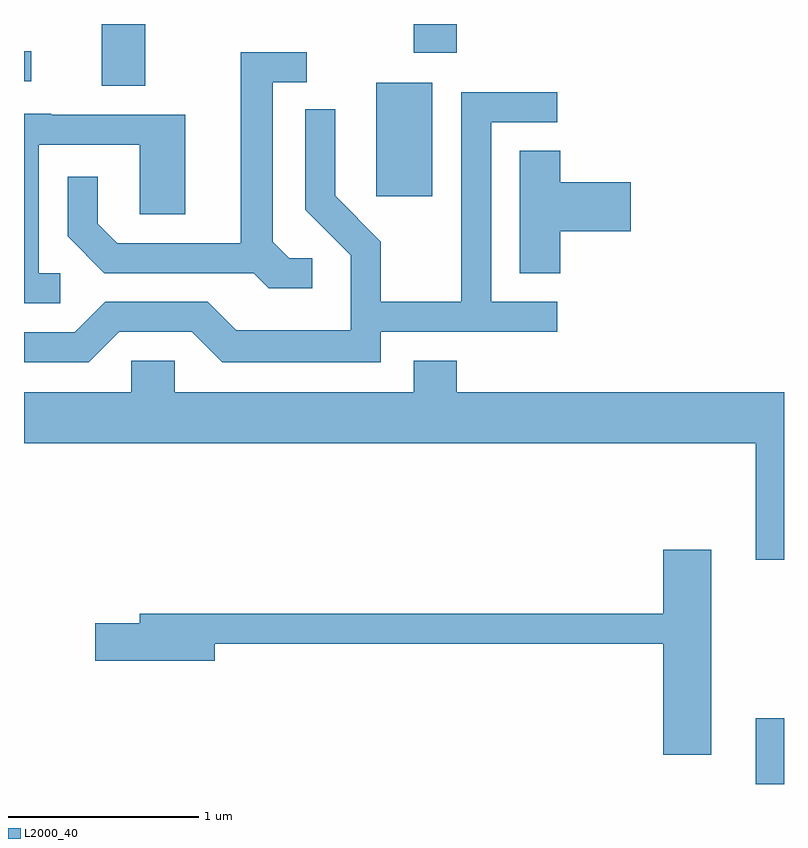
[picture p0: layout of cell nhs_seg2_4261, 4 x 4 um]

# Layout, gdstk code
import gdstk
lib = gdstk.Library(unit=1e-6, precision=1e-09)
def R(c, l, rs):  # rectangles x0, y0, x1, y1
    for r in rs: c.add(gdstk.rectangle(r[:2], r[2:], *l))
def P(c, l, *ps):  # polygons
    for p in ps: c.add(gdstk.Polygon(p, *l))
L2000_40 = (2000, 40)

nhs_seg2_4261 = lib.new_cell('nhs_seg2_4261')
R(nhs_seg2_4261, L2000_40, [(313.461,1099.802,313.611,1100.149), (311.466,1102.896,311.759,1103.494), (310.021,1103.476,310.249,1103.802), (309.611,1103.501,309.648,1103.659), (311.661,1103.651,311.889,1103.802)])
P(nhs_seg2_4261, L2000_40, [(311.128,1102.569),(311.007,1102.569),(310.919,1102.657),(310.919,1103.496),(311.098,1103.496),(311.098,1103.654),(310.751,1103.654),(310.751,1102.649),(310.102,1102.649),(309.999,1102.752),(309.999,1102.998),(309.841,1102.998),(309.841,1102.684),(310.034,1102.491),(310.819,1102.491),(310.899,1102.411),(311.128,1102.411)],
  [(310.112,1102.181),(310.494,1102.181),(310.654,1102.021),(311.489,1102.021),(311.489,1102.181),(312.418,1102.181),(312.418,1102.339),(312.069,1102.339),(312.069,1103.286),(312.418,1103.286),(312.418,1103.444),(311.911,1103.444),(311.911,1102.339),(311.489,1102.339),(311.489,1102.657),(311.249,1102.897),(311.249,1103.353),(311.091,1103.353),(311.091,1102.824),(311.331,1102.584),(311.331,1102.189),(310.727,1102.189),(310.577,1102.339),(310.039,1102.339),(309.879,1102.179),(309.611,1102.179),(309.611,1102.021),(309.952,1102.021)],
  [(309.803,1102.489),(309.689,1102.489),(309.689,1103.166),(310.221,1103.166),(310.221,1102.801),(310.459,1102.801),(310.459,1103.324),(309.755,1103.324),(309.755,1103.329),(309.611,1103.329),(309.611,1102.331),(309.803,1102.331)],
  [(312.434,1102.711),(312.804,1102.711),(312.804,1102.969),(312.434,1102.969),(312.434,1103.134),(312.221,1103.134),(312.221,1102.491),(312.434,1102.491)],
  [(313.611,1101.864),(311.889,1101.864),(311.889,1102.029),(311.661,1102.029),(311.661,1101.864),(310.404,1101.864),(310.404,1102.029),(310.176,1102.029),(310.176,1101.864),(309.611,1101.864),(309.611,1101.596),(313.461,1101.596),(313.461,1100.981),(313.611,1100.981)],
  [(313.229,1101.034),(312.976,1101.034),(312.976,1100.699),(310.221,1100.699),(310.221,1100.649),(309.986,1100.649),(309.986,1100.451),(310.614,1100.451),(310.614,1100.541),(312.976,1100.541),(312.976,1099.956),(313.229,1099.956)])

lib.write_gds('nhs_seg2_4261.gds')
